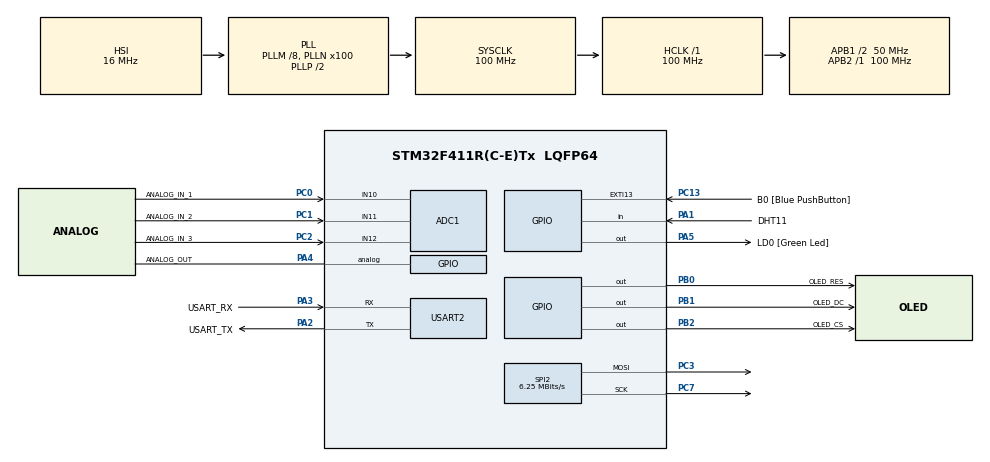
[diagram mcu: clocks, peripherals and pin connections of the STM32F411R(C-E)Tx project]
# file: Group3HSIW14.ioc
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ADC1.Channel-1\#ChannelRegularConversion=ADC_CHANNEL_10
ADC1.Channel-2\#ChannelRegularConversion=ADC_CHANNEL_11
ADC1.Channel-3\#ChannelRegularConversion=ADC_CHANNEL_12
ADC1.ContinuousConvMode=ENABLE
ADC1.NbrOfConversion=3
ADC1.NbrOfConversionFlag=1
ADC1.Rank-1\#ChannelRegularConversion=1
ADC1.Rank-2\#ChannelRegularConversion=2
ADC1.Rank-3\#ChannelRegularConversion=3
ADC1.SamplingTime-1\#ChannelRegularConversion=ADC_SAMPLETIME_56CYCLES
ADC1.SamplingTime-2\#ChannelRegularConversion=ADC_SAMPLETIME_56CYCLES
ADC1.SamplingTime-3\#ChannelRegularConversion=ADC_SAMPLETIME_56CYCLES
ADC1.master=1
Mcu.Family=STM32F4
Mcu.Name=STM32F411R(C-E)Tx
Mcu.Package=LQFP64
NVIC.ADC_IRQn=true\:0\:0\:false\:false\:true\:true\:true\:true
NVIC.PriorityGroup=NVIC_PRIORITYGROUP_0
PA1.GPIO_Label=DHT11
PA1.Signal=GPIO_Input
PA13.GPIO_Label=TMS
PA13.Mode=Serial_Wire
PA13.Signal=SYS_JTMS-SWDIO
PA14.GPIO_Label=TCK
PA14.Mode=Serial_Wire
PA14.Signal=SYS_JTCK-SWCLK
PA2.GPIO_Label=USART_TX
PA2.Mode=Asynchronous
PA2.Signal=USART2_TX
PA3.GPIO_Label=USART_RX
PA3.Mode=Asynchronous
PA3.Signal=USART2_RX
PA4.GPIO_Label=ANALOG_OUT
PA4.Signal=GPIO_Analog
PA5.GPIO_Label=LD0 [Green Led]
PA5.Signal=GPIO_Output
PB0.GPIO_Label=OLED_RES
PB0.Signal=GPIO_Output
PB1.GPIO_Label=OLED_DC
PB1.Signal=GPIO_Output
PB2.GPIO_Label=OLED_CS
PB2.Signal=GPIO_Output
PB3.GPIO_Label=SWO
PB3.Signal=SYS_JTDO-SWO
PC0.GPIO_Label=ANALOG_IN_1
PC0.Signal=ADCx_IN10
PC1.GPIO_Label=ANALOG_IN_2
PC1.Signal=ADCx_IN11
PC13-ANTI_TAMP.GPIO_Label=B0 [Blue PushButton]
PC13-ANTI_TAMP.GPIO_ModeDefaultEXTI=GPIO_MODE_IT_FALLING
PC13-ANTI_TAMP.Signal=GPXTI13
PC14-OSC32_IN.Mode=LSE-External-Oscillator
PC14-OSC32_IN.Signal=RCC_OSC32_IN
PC15-OSC32_OUT.Mode=LSE-External-Oscillator
PC15-OSC32_OUT.Signal=RCC_OSC32_OUT
PC2.GPIO_Label=ANALOG_IN_3
PC2.Signal=ADCx_IN12
PC3.Mode=TX_Only_Simplex_Unidirect_Master
PC3.Signal=SPI2_MOSI
PC7.Mode=TX_Only_Simplex_Unidirect_Master
PC7.Signal=SPI2_SCK
PH0\ -\ OSC_IN.Mode=HSE-External-Clock-Source
PH0\ -\ OSC_IN.Signal=RCC_OSC_IN
PH1\ -\ OSC_OUT.Mode=HSE-External-Clock-Source
PH1\ -\ OSC_OUT.Signal=RCC_OSC_OUT
ProjectManager.HeapSize=0x200
ProjectManager.StackSize=0x400
ProjectManager.TargetToolchain=STM32CubeIDE
RCC.48MHZClocksFreq_Value=50000000
RCC.AHBFreq_Value=100000000
RCC.APB1CLKDivider=RCC_HCLK_DIV2
RCC.APB1Freq_Value=50000000
RCC.APB1TimFreq_Value=100000000
RCC.APB2Freq_Value=100000000
RCC.APB2TimFreq_Value=100000000
RCC.CortexFreq_Value=100000000
RCC.FLatency-AdvancedSettings=FLASH_LATENCY_3
RCC.HCLKFreq_Value=100000000
RCC.HSE_VALUE=8000000
RCC.HSI_VALUE=16000000
RCC.PLLM=8
RCC.PLLN=100
RCC.SYSCLKFreq_VALUE=100000000
RCC.SYSCLKSource=RCC_SYSCLKSOURCE_PLLCLK
RCC.VCOOutputFreq_Value=200000000
SH.ADCx_IN10.0=ADC1_IN10,IN10
SH.ADCx_IN11.0=ADC1_IN11,IN11
SH.ADCx_IN12.0=ADC1_IN12,IN12
SPI2.BaudRatePrescaler=SPI_BAUDRATEPRESCALER_8
SPI2.CalculateBaudRate=6.25 MBits/s
SPI2.Direction=SPI_DIRECTION_2LINES
SPI2.Mode=SPI_MODE_MASTER
SPI2.VirtualType=VM_MASTER
TIM4.Prescaler=9999
USART2.VirtualMode=VM_ASYNC
VP_TIM4_VS_ClockSourceINT.Mode=Internal
board=NUCLEO-F411RE

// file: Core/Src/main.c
/* USER CODE BEGIN Header */
/**
 ******************************************************************************
* @file		: main.c
* @project	: EECE8011 - Full PCB test code
* @authors	: Monica (Thi Kim Thu) Tong + Kiruthika Arumugam
* @date 	: 2025-08-06 [yyyy-mm-dd]
* @board	: Nucleo STMF441RE
* @brief	:
*    The functions in this file are used to conceptually mimic a semi-portable system
*    	that detects risk of mold growth indoors (no sunlight + high humidity):
*    	- Init each sensor separately
*    	- Read environmental values:
*    		+ Solar panel's voltage - ADC input (interrupt)
*    		+ Humidity (1-2 DHT11 sensors) - pulses
*    	- Periodically check if sensors are working correctly (watchdog timer? Check values?)
*    		+ If not working properly/disconnected, prompt user to manually restart system
*    	- Store sensor data (e.g. in big array OR circular buffer)
*    	- Display average sensor status on OLED
*    		+ But we can see more detailed values on terminal
*    		+ Screen can refresh at same rate as mold risk evaluation
*    	- Evaluate mold risk periodically (e.g. every 1 second)
*    		+ Calculate if low light + high humidity threshold reached
*    		+ Show hard-to-miss warning on OLED if mold risk is detected
*
*	Input:
*		Push button: B0 (onboard) (PC13) (this is used for DEBUGGING only, not part of the final demo)
*			* Button is Active Low (so '0' = pressed)
*
*		ADC: Non-constant input voltage (from solar panel)
*		DHT11: 3.3V, PA1 (hardcoded in DHT library), GND
*
*		VCP_RX (PuTTy input -> onboard/Nucleo)
*
*		TIM4 (just internal clock, no channel): for non-blocking delay functions
*
*	Outputs:
*		SPI2: OLED: (VCC: 3.3V)
*			NC: N/A				DIN: PC3 (07_37)		CLK: PC7 (D9)			(DIN is MOSI)
*			CS: PB2	(10_22)		DC: PB1 (10_24)			RES: PB0 (A3)
*				NOTE: Screen's mounted upside down in this case.
*
*		VCP_TX (Nucleo -> PuTTy)
*
*    Citations:
*		DHT11 library: https://controllerstech.com/using-dht11-sensor-with-stm32/
*    	Some code troubleshot and partially written with assistance from Copilot. I've reviewed and tested them to understand what they do

 ******************************************************************************
 **/
/* USER CODE END Header */
#include "main.h"
#include "adc.h"
#include "spi.h"
#include "tim.h"
#include "usart.h"
#include "gpio.h"

/* USER CODE BEGIN Includes */
// Basic libs:
#include <stdio.h>
#include <string.h> // string manipulation (where necessary)
#include "userInput.h" // to get user's character input from terminal

#include "debounce.h" // push button debouncing (TEMP - to remove)

#include "DHT.h" // humidity sensor(s)

// For OLED:
#include "ssd1331.h"
#include "fonts.h"
/* USER CODE END Includes */

/* USER CODE BEGIN PD */
// To overwrite extern vars in syscalls.c:
#define PUTCHAR_PROTOTYPE int __io_putchar(int ch)
#define GETCHAR_PROTOTYPE int __io_getchar (void)

// Mold risk evaluation:
#define SOLAR_HIGH 1700 // >= this val -> high sunlight. Risk = LOW sunlight
#define HUMIDITY_HIGH 65.0f // >= this val -> high humidity. Risk = HIGH humidity

// Sync read intervals for all sensors:
#define DHT_READ_INTERVAL 1000 // ms
#define ADC_READ_INTERVAL 1000 // ms
/* USER CODE END PD */

/* USER CODE BEGIN PV */
// DHT sensor:
DHT_DataTypedef DHT11_Data; // Look in the DHT.h for the definition
float Temperature, Humidity;

// ADC (solar) values for interrupt:
volatile uint32_t latestAdcValue = 0;
volatile uint8_t adcUpdated = 0;
uint32_t latestDhtReadtime = 0; // to sync with ADC reading
uint32_t latestAdcReadtime = 0;
/* USER CODE END PV */

void SystemClock_Config(void);

/* USER CODE BEGIN 0 */

/*
 * FUNCTION : printMenu
 * DESCRIPTION :
 *    Print the interactive menu to the terminal with short explanations
 *    for each option. Called when user selects an option amongst the
 *    ones below, or at startup.
 * PARAMETERS : void
 * RETURNS : void
 */
void printMenu (void) {
	printf("Choose a module to test:\n\r");
	printf("0: Show menu again\n\r");
	printf("1: Test only DHT11\n\r");
	printf("2: Test only OLED (SPI2)\n\r");
	printf("3: Test only Solar panel (ADC1 CH1)\n\r");
	printf("4: Test only ADC interrupt\n\r");
	printf("5: Evaluate mold risk\n\r");
	return;
} // end of func

/*
 * FUNCTION : hasElapsed
 * DESCRIPTION :
 *    Non-blocking delay checker. Returns 1 if the specified number of milliseconds
 *    has passed since the given start time.
 * PARAMETERS :
 *    uint32_t startTime : the reference start time (from HAL_GetTick())
 *    uint32_t duration  : how many milliseconds to wait
 * RETURNS :
 *    1 if time has elapsed, 0 otherwise
 */
uint8_t hasElapsed(uint32_t startTime, uint32_t duration) {
	return (HAL_GetTick() - startTime >= duration);
} // end of func

/*
 * FUNCTION : runOledTest
 * DESCRIPTION : Display a fixed string on the OLED
 * PARAMETERS : void
 * RETURNS : void
*/
void runOledTest (void) {
	// Short description of the test
	printf("=== OLED Display Test ===\n\r");
	printf("This test displays a fixed message on the OLED screen.\n\r");

	const char *testString = {"Monica's OLED!"}; // the string
	ssd1331_display_string(0, 0, testString, FONT_1206, WHITE); // don't need to think about string buffer here
} // end of func

/*
 * FUNCTION : runAdcTest
 * DESCRIPTION :
 *    Read analog input from ADC1 and display the value on the terminal.
 *    This test is designed to verify that the ADC source is wired correctly
 *    and that the ADC is functioning. Values will be printed continuously.
 *    Type 'q' to quit the test and return to the main menu.
 * PARAMETERS : void
 * RETURNS : void
 */
void runAdcTest (void) {
	// Short description of the test:
	printf("=== ADC Input Test ===\n\r");
	printf("This test reads analog input from a potentiometer via ADC1.\n\r");
	printf("Ensure the ADC source is connected to one of the ADC pins.\n\r");
	printf("Type 'Y' to continue or any other key to cancel...\n\r");

	// Confirmation prompt:
	char confirm = 0;
	while (confirm == 0) {
		confirm = GetCharFromUART2(); // wait for user input via VCP
	}

	if (confirm != 'Y' && confirm != 'y') {
		printf("Test aborted. Returning to main menu...\n\r");
		return;
	}

	uint32_t startTime = HAL_GetTick(); // non-blocking timer for read loop
	// Begin ADC read loop:
	printf("ADC test started. Type 'q' to quit.\n\r");
	while (1) {
		char exitChar = GetCharFromUART2(); // allow exit via VCP
		if (exitChar == 'q' || exitChar == 'Q') {
			printf("Quitting ADC test. Returning to main menu...\n\r");
			break;
		}

		if (hasElapsed(startTime, 200)) { // non-blocking HAL_Delay equivalent
			startTime = HAL_GetTick(); // reset timer

			HAL_ADC_Start(&hadc1);
			if (HAL_ADC_PollForConversion(&hadc1, 10) == HAL_OK) { // polling, not interrupt
				uint32_t adcValue = HAL_ADC_GetValue(&hadc1);
				printf("ADC Value: %lu\n\r", adcValue);
			}
			HAL_ADC_Stop(&hadc1);
		} // end of outer if

	} // end of inner while()

	return;
} // end of func

/*
 * FUNCTION : HAL_ADC_ConvCpltCallback (ADC interrupt func)
 * DESCRIPTION :
 *    Read ADC interrupt value and update them to global vars
 * PARAMETERS : ADC_HandleTypeDef *hadc (ADC typedef)
 * RETURNS : void
 */
void HAL_ADC_ConvCpltCallback (ADC_HandleTypeDef *hadc) {
	if (hadc->Instance == ADC1) {
		latestAdcValue = HAL_ADC_GetValue(hadc);
		adcUpdated = 1;
	}
} // end of func

/*
 * FUNCTION: testAdcInterrupt
 * DESCRIPTION: Simple test to verify ADC1 interrupt is working.
 *              Prints new ADC values when updated via interrupt.
 * PARAMETERS: void
 * RETURNS: void
 */
void testAdcInterrupt (void) {
	// Start ADC in interrupt mode
	HAL_ADC_Start_IT(&hadc1);

	while (1) {
		if (adcUpdated) {
			adcUpdated = 0; // reset flag
			printf("ADC Interrupt Value: %lu\n\r", latestAdcValue);
		}
	}

	HAL_ADC_Stop_IT(&hadc1); // stop ADC interrupt when done
} // end of func

/*
 * FUNCTION : runDhtTest
 * DESCRIPTION :
 *    Read analog input from DHT11 and display the value on the terminal & OLED.
 *    Type 'q' to quit the test and return to the main menu.
 * PARAMETERS : void
 * RETURNS : void
 */
void runDhtTest (void) {
	printf("=== DHT11 Sensor Test ===\n\r");
	printf("This test reads temperature and humidity from the DHT11 sensor.\n\r");
	printf("Type 'q' to quit.\n\r");

	char tempStr[20] = {0}; // format output to readable text (OLED prefers string) & init 1st byte to \0
	char humStr[20] = {0};

	uint32_t startTime = HAL_GetTick(); // non-blocking timer

	while (1) {
		char exitChar = GetCharFromUART2();
		if (exitChar == 'q' || exitChar == 'Q') {
			printf("Quitting DHT11 test. Returning to main menu...\n\r");
			break;
		}
		if ( hasElapsed(startTime, 1100) ) { // non-blocking delay. IMPORTANT: DHT11 can't handle delays lower than 1000 ms...
			startTime = HAL_GetTick(); // reset timer
			// Read & update values to some vars:
			DHT_GetData(&DHT11_Data);
			Temperature = DHT11_Data.Temperature;
			Humidity = DHT11_Data.Humidity;
			snprintf(tempStr, sizeof(tempStr), "Temp: %d C", (int)Temperature); // cast to int instead of (uint16_t) for simplicity
			snprintf(humStr, sizeof(humStr), "Humidity: %d %%", (int)Humidity); // cast to int instead of (uint16_t) for simplicity

			printf("T: %s, H: %s\n\r", tempStr, humStr);

			// Clear top half of screen by drawing a black rectangle:
			ssd1331_fill_rect(0, 0, 96, 32, BLACK); // clear top half of screen
			ssd1331_display_string(0, 0, tempStr, FONT_1206, WHITE);
			ssd1331_display_string(0, 16, humStr, FONT_1206, WHITE);

			// Display values on OLED:
			ssd1331_display_string(0, 0, tempStr, FONT_1206, WHITE);
			ssd1331_display_string(0, 16, humStr, FONT_1206, WHITE);
		} // end of if

	} // end of while()

	return;
} // end of func

/*
 * FUNCTION: readSensors
 * DESCRIPTION: Reads humidity and light level from sensors at synchronized intervals
 * PARAMETERS: float* humidity, uint32_t* lightLevel
 * RETURNS: int8_t - 0 if success, -1 if sensor error
 */
int8_t readSensors (float* humidity, uint32_t* lightLevel) {
	uint32_t now = HAL_GetTick();

	// Read DHT11 if interval has passed:
	if ( hasElapsed(latestDhtReadtime, DHT_READ_INTERVAL) ) {
		latestDhtReadtime = now;
		DHT_GetData(&DHT11_Data); // get data

		// Handle sensor errors/garbage values:
		if (DHT11_Data.Temperature == 0 && DHT11_Data.Humidity == 0) {
			return -1; // sensor error
		}
		// Read value:
		*humidity = DHT11_Data.Humidity; // we're only getting humidity data for this, not temperatures
	}

	// Read ADC value if updated via interrupt and interval has passed:
	if ( adcUpdated && hasElapsed(latestAdcReadtime, ADC_READ_INTERVAL) ) {
		latestAdcReadtime = now;
		adcUpdated = 0; // reset flag
		*lightLevel = latestAdcValue;
	}

	return 0;
} // end of func

/*
 * FUNCTION: evaluateMoldRisk
 * DESCRIPTION: Checks if mold risk is present based on humidity and light level
 * PARAMETERS: float humidity, uint32_t lightLevel
 * RETURNS: int8_t - 1 if mold risk detected, 0 if not (normal values)
 */
int8_t evaluateMoldRisk (float humidity, uint32_t lightLevel) {
	int8_t riskFound = ( humidity >= HUMIDITY_HIGH && lightLevel <= SOLAR_HIGH );
		/* NOTE 1: using int instead of uint here to potentially return errors in the future
		 * NOTE 2: still assuming humidity's a float in case we switch sensor model */
	return riskFound;
} // end of func

/*
 * FUNCTION: showMoldWarning
 * DESCRIPTION: Displays mold risk warning on OLED
 * PARAMETERS: void
 * RETURNS: void
 */
void showMoldWarning (void) {
	ssd1331_fill_rect(0, 32, 96, 32, RED); // clear bottom half with red
	ssd1331_display_string(0, 32, "MOLD RISK!", FONT_1206, WHITE); // white text
    return;
} // end of func

/*
 * FUNCTION: evaluateAndDisplayRisk
 * DESCRIPTION: Evaluates mold risk and displays warning if needed
 * PARAMETERS: float humidity, uint32_t lightLevel
 * RETURNS: void
 */
void evaluateAndDisplayRisk (float humidity, uint32_t lightLevel) {
	if (evaluateMoldRisk(humidity, lightLevel)) {
		showMoldWarning();
	} else {
		// Clear bottom half of screen if no risk
		ssd1331_fill_rect(0, 32, 96, 32, BLACK);
		ssd1331_display_string(0, 32, "Status: OK", FONT_1206, WHITE);
	}
	return;
} // end of func

/*
 * FUNCTION: runMoldRiskTest
 * DESCRIPTION: Runs mold risk evaluation loop
 * 	NOTE:for now I'm implementing this way, but will be updated with circular buffer implementation
 * PARAMETERS: void
 * RETURNS: void
 */
void runMoldRiskTest (void) {
	printf("=== Mold Risk Evaluation ===\n\r");
	printf("Press 'q' to quit.\n\r");

	// Define vars again:
	char humStr[20] = {0};
	char lightStr[20] = {0};
	float humidity = 0;
	uint32_t lightLevel = 0;
	uint32_t startTime = HAL_GetTick();

	// Main eval loop:
	while (1) {
		// Prompt to escape to main menu:
		char exitChar = GetCharFromUART2();
		if (exitChar == 'q' || exitChar == 'Q') {
			printf("Exiting mold risk test.\n\r");
			break;
		}

		// non-blocking delay:
		if ( hasElapsed(startTime, 1000) ) { // check every 1 second
			startTime = HAL_GetTick(); // reset timer

			// Check if sensor outputs make sense:
			if (readSensors(&humidity, &lightLevel) == -1) {
				printf("ERROR: DHT sensor not responding.\n\r");
				ssd1331_display_string(0, 0, "DHT ERROR!", FONT_1206, RED);
				continue;
			}

			// Show results on OLED:
			snprintf(humStr, sizeof(humStr), "Humidity: %d %%", (int)humidity);
			snprintf(lightStr, sizeof(lightStr), "Light: %lu", lightLevel);

			ssd1331_fill_rect(0, 0, 96, 32, BLACK); // clear top half
			ssd1331_display_string(0, 0, humStr, FONT_1206, WHITE);
			ssd1331_display_string(0, 16, lightStr, FONT_1206, WHITE);

			// Print results on Terminal:
			printf("H: %s %%, L: %s\n\r", humStr, lightStr);

			evaluateAndDisplayRisk(humidity, lightLevel);
		} // end of hasElapsed() if loop

	} // end of inner while(1)
	return;
} // end of func

/* USER CODE END 0 */

int main(void)
{

  /* MCU Configuration--------------------------------------------------------*/

  /* Reset of all peripherals, Initializes the Flash interface and the Systick. */
  HAL_Init();

  /* Configure the system clock */
  SystemClock_Config();

  /* Initialize all configured peripherals */
  MX_GPIO_Init();
  MX_USART2_UART_Init();
  MX_ADC1_Init();
  MX_SPI2_Init();
  MX_TIM4_Init();
  /* USER CODE BEGIN 2 */
  printf("\n\rGroup 3's Demo:\n\r===\n\r");

  ssd1331_init(); // Init OLED
  HAL_ADC_Start_IT(&hadc1); // Start ADC interrupt

  // Declare vars:
  uint8_t showMenu = 1; // flag that when set will output the menu prompt

  /* USER CODE END 2 */

  /* Infinite loop */
  /* USER CODE BEGIN WHILE */
  while (1)
  {
//	  runDhtTest();
	  // If menu hasn't been printed:
	  if(showMenu != 0)	{	// meaning menu flag isn't 0
		  printMenu();
		  showMenu = 0;		// reset flag
	  	  }

	  // Show user input:
	  char userInput = GetCharFromUART2(); // using VCP here to avoid module failure
										  /* this declaration needs to be here to restrict
										   * its scope only to this loop */
	  if (userInput != 0) {
		  printf("You entered: %c\n\r", userInput);
	  }

	  // Handle the menu input:
	  switch (userInput) {
	  	  case 0: // (note this is 0 not '0') Nothing received from GetCharFromUART2()
	  		  break;

	  	  case '0': // show menu again
	  		  showMenu = 1;
	  		  break;

	  	  case '1': // test DHT11 measurements
	  		  runDhtTest();
	  		  break;

	  	  case '2': // test OLED
	  		  runOledTest();
	  		  break;

	  	  case '3': // test ADC
	  		  runAdcTest();
	  		  break;

	  	  case '4': // test ADC interrupt
	  		  testAdcInterrupt();
			  break;

	  	  case'5': // integrated testing:
	  		  runMoldRiskTest();
	  		  break;

	  	  default:
	  		  printf("ERROR: invalid menu option!\n\rShowing menu again...\n\r");
	  		  showMenu = 1; // show menu again
	  		  break;
	  } // end of switch
    /* USER CODE END WHILE */

    /* USER CODE BEGIN 3 */
  } // end of while(1)
  /* USER CODE END 3 */
}

void SystemClock_Config(void)
{
  RCC_OscInitTypeDef RCC_OscInitStruct = {0};
  RCC_ClkInitTypeDef RCC_ClkInitStruct = {0};

  /** Configure the main internal regulator output voltage
  */
  __HAL_RCC_PWR_CLK_ENABLE();
  __HAL_PWR_VOLTAGESCALING_CONFIG(PWR_REGULATOR_VOLTAGE_SCALE1);

  /** Initializes the RCC Oscillators according to the specified parameters
  * in the RCC_OscInitTypeDef structure.
  */
  RCC_OscInitStruct.OscillatorType = RCC_OSCILLATORTYPE_HSI;
  RCC_OscInitStruct.HSIState = RCC_HSI_ON;
  RCC_OscInitStruct.HSICalibrationValue = RCC_HSICALIBRATION_DEFAULT;
  RCC_OscInitStruct.PLL.PLLState = RCC_PLL_ON;
  RCC_OscInitStruct.PLL.PLLSource = RCC_PLLSOURCE_HSI;
  RCC_OscInitStruct.PLL.PLLM = 8;
  RCC_OscInitStruct.PLL.PLLN = 100;
  RCC_OscInitStruct.PLL.PLLP = RCC_PLLP_DIV2;
  RCC_OscInitStruct.PLL.PLLQ = 4;
  if (HAL_RCC_OscConfig(&RCC_OscInitStruct) != HAL_OK)
  {
    Error_Handler();
  }

  /** Initializes the CPU, AHB and APB buses clocks
  */
  RCC_ClkInitStruct.ClockType = RCC_CLOCKTYPE_HCLK|RCC_CLOCKTYPE_SYSCLK
                              |RCC_CLOCKTYPE_PCLK1|RCC_CLOCKTYPE_PCLK2;
  RCC_ClkInitStruct.SYSCLKSource = RCC_SYSCLKSOURCE_PLLCLK;
  RCC_ClkInitStruct.AHBCLKDivider = RCC_SYSCLK_DIV1;
  RCC_ClkInitStruct.APB1CLKDivider = RCC_HCLK_DIV2;
  RCC_ClkInitStruct.APB2CLKDivider = RCC_HCLK_DIV1;

  if (HAL_RCC_ClockConfig(&RCC_ClkInitStruct, FLASH_LATENCY_3) != HAL_OK)
  {
    Error_Handler();
  }
}

/* USER CODE BEGIN 4 */
PUTCHAR_PROTOTYPE
{
  /* Place your implementation of fputc here */
  /* e.g. write a character to the USART1 and Loop until the end of transmission */
  HAL_UART_Transmit(&huart2, (uint8_t *)&ch, 1, 0xFFFF);
  return ch;
}

GETCHAR_PROTOTYPE
{
  uint8_t ch = 0;
  // Clear the Overrun flag just before receiving the first character
  __HAL_UART_CLEAR_OREFLAG(&huart2);

  HAL_UART_Receive(&huart2, (uint8_t *)&ch, 1, 5);
  return ch;
}

/* USER CODE END 4 */

void Error_Handler(void)
{
  __disable_irq();
  while (1)
  {
  }
}
